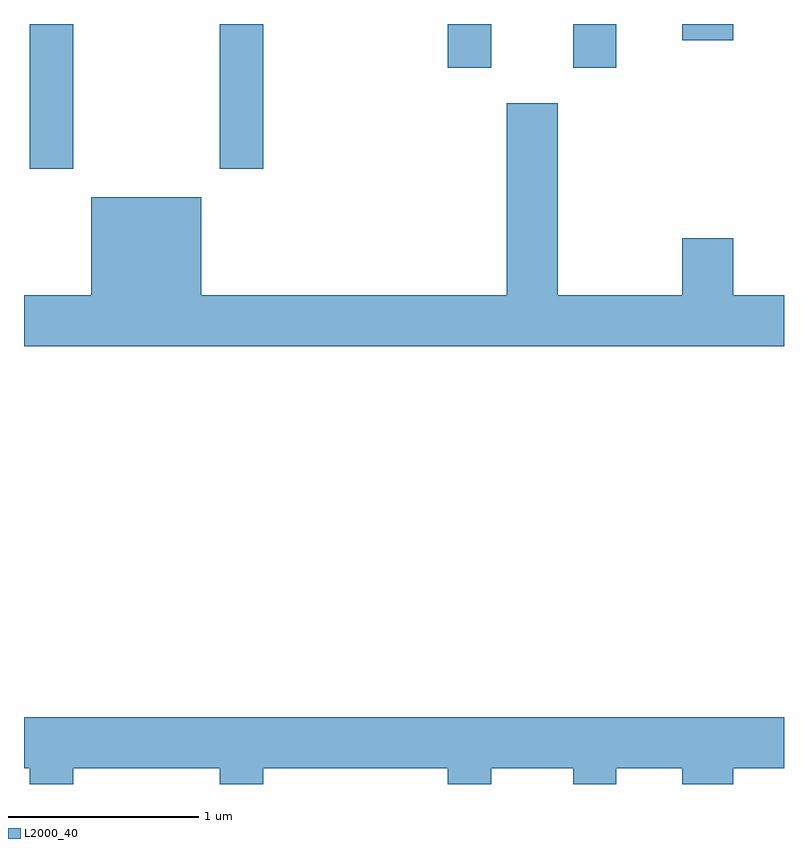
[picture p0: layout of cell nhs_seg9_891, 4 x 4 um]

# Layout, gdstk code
import gdstk
lib = gdstk.Library(unit=1e-6, precision=1e-09)
def R(c, l, rs):  # rectangles x0, y0, x1, y1
    for r in rs: c.add(gdstk.rectangle(r[:2], r[2:], *l))
def P(c, l, *ps):  # polygons
    for p in ps: c.add(gdstk.Polygon(p, *l))
L2000_40 = (2000, 40)

nhs_seg9_891 = lib.new_cell('nhs_seg9_891')
R(nhs_seg9_891, L2000_40, [(211.641,1961.671,211.869,1962.432), (212.641,1961.671,212.869,1962.432), (213.841,1962.201,214.069,1962.432), (214.501,1962.201,214.729,1962.432), (215.076,1962.346,215.344,1962.432)])
P(nhs_seg9_891, L2000_40, [(215.611,1961.004),(215.344,1961.004),(215.344,1961.304),(215.076,1961.304),(215.076,1961.004),(214.419,1961.004),(214.419,1962.014),(214.151,1962.014),(214.151,1961.004),(212.544,1961.004),(212.544,1961.519),(211.966,1961.519),(211.966,1961.004),(211.611,1961.004),(211.611,1960.736),(215.611,1960.736)],
  [(211.869,1958.516),(212.641,1958.516),(212.641,1958.432),(212.869,1958.432),(212.869,1958.516),(213.841,1958.516),(213.841,1958.432),(214.069,1958.432),(214.069,1958.516),(214.501,1958.516),(214.501,1958.432),(214.729,1958.432),(214.729,1958.516),(215.076,1958.516),(215.076,1958.432),(215.344,1958.432),(215.344,1958.516),(215.611,1958.516),(215.611,1958.784),(211.611,1958.784),(211.611,1958.516),(211.641,1958.516),(211.641,1958.432),(211.869,1958.432)])

lib.write_gds('nhs_seg9_891.gds')
